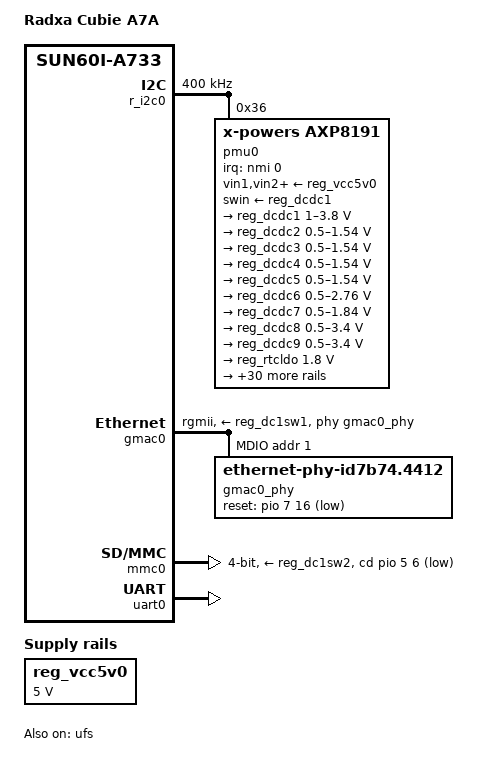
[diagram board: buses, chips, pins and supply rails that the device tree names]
// SPDX-License-Identifier: (GPL-2.0-only OR MIT)

/dts-v1/;

#include <dt-bindings/gpio/gpio.h>

#include "sun60i-a733.dtsi"

/ {
	model = "Radxa Cubie A7A";
	compatible = "radxa,cubie-a7a", "allwinner,sun60i-a733";

	reg_vcc5v0: regulator-vcc5v0 {
		compatible = "regulator-fixed";
		regulator-name = "vcc5v0";
		regulator-min-microvolt = <5000000>;
		regulator-max-microvolt = <5000000>;
		regulator-always-on;
	};

	aliases {
		serial0 = &uart0;
		ethernet0 = &gmac0;
		mmc0 = &mmc0;
	};

	chosen {
		stdout-path = "serial0:115200n8";
	};
};

&r_i2c0 {
	clock-frequency = <400000>;
	status = "okay";

	pmu0: pmic@36 {
		compatible = "x-powers,axp8191";
		reg = <0x36>;
		interrupt-parent = <&nmi>;
		interrupts = <0 IRQ_TYPE_LEVEL_LOW>;
		interrupt-controller;
		#interrupt-cells = <1>;
		vin1-supply = <&reg_vcc5v0>;
		vin2-supply = <&reg_vcc5v0>;
		vin3-supply = <&reg_vcc5v0>;
		vin4-supply = <&reg_vcc5v0>;
		vin5-supply = <&reg_vcc5v0>;
		vin6-supply = <&reg_vcc5v0>;
		vin7-supply = <&reg_vcc5v0>;
		vin8-supply = <&reg_vcc5v0>;
		vin9-supply = <&reg_vcc5v0>;
		aldoin-supply = <&reg_vcc5v0>;
		bldoin-supply = <&reg_vcc5v0>;
		cldoin-supply = <&reg_vcc5v0>;
		dldoin-supply = <&reg_vcc5v0>;
		eldoin-supply = <&reg_vcc5v0>;
		ips-supply = <&reg_vcc5v0>;
		swin-supply = <&reg_dcdc1>;
		status = "okay";

		regulators {
			reg_dcdc1: dcdc1 {
				regulator-name = "axp8191-dcdc1";
				regulator-min-microvolt = <1000000>;
				regulator-max-microvolt = <3800000>;
				regulator-ramp-delay = <250>;
				regulator-enable-ramp-delay = <1000>;
				regulator-boot-on;
				regulator-always-on;
			};
			reg_dcdc2: dcdc2 {
				regulator-name = "axp8191-dcdc2";
				regulator-min-microvolt = <500000>;
				regulator-max-microvolt = <1540000>;
				regulator-ramp-delay = <250>;
				regulator-enable-ramp-delay = <1000>;
				regulator-boot-on;
				regulator-always-on;
			};
			reg_dcdc3: dcdc3 {
				regulator-name = "axp8191-dcdc3";
				regulator-min-microvolt = <500000>;
				regulator-max-microvolt = <1540000>;
				regulator-ramp-delay = <250>;
				regulator-enable-ramp-delay = <1000>;
				regulator-boot-on;
				regulator-always-on;
			};
			reg_dcdc4: dcdc4 {
				regulator-name = "axp8191-dcdc4";
				regulator-min-microvolt = <500000>;
				regulator-max-microvolt = <1540000>;
				regulator-ramp-delay = <250>;
				regulator-enable-ramp-delay = <1000>;
				regulator-boot-on;
				regulator-always-on;
			};
			reg_dcdc5: dcdc5 {
				regulator-name = "axp8191-dcdc5";
				regulator-min-microvolt = <500000>;
				regulator-max-microvolt = <1540000>;
				regulator-ramp-delay = <250>;
				regulator-enable-ramp-delay = <1000>;
				regulator-boot-on;
				regulator-always-on;
			};
			reg_dcdc6: dcdc6 {
				regulator-name = "axp8191-dcdc6";
				regulator-min-microvolt = <500000>;
				regulator-max-microvolt = <2760000>;
				regulator-ramp-delay = <250>;
				regulator-enable-ramp-delay = <1000>;
				regulator-boot-on;
				regulator-always-on;
			};
			reg_dcdc7: dcdc7 {
				regulator-name = "axp8191-dcdc7";
				regulator-min-microvolt = <500000>;
				regulator-max-microvolt = <1840000>;
				regulator-ramp-delay = <250>;
				regulator-enable-ramp-delay = <1000>;
				regulator-boot-on;
				regulator-always-on;
			};
			reg_dcdc8: dcdc8 {
				regulator-name = "axp8191-dcdc8";
				regulator-min-microvolt = <500000>;
				regulator-max-microvolt = <3400000>;
				regulator-ramp-delay = <250>;
				regulator-enable-ramp-delay = <1000>;
				regulator-boot-on;
				regulator-always-on;
			};
			reg_dcdc9: dcdc9 {
				regulator-name = "axp8191-dcdc9";
				regulator-min-microvolt = <500000>;
				regulator-max-microvolt = <3400000>;
				regulator-ramp-delay = <250>;
				regulator-enable-ramp-delay = <1000>;
				regulator-boot-on;
				regulator-always-on;
			};
			reg_rtcldo: rtcldo {
				regulator-name = "axp8191-rtcldo";
				regulator-min-microvolt = <1800000>;
				regulator-max-microvolt = <1800000>;
				regulator-boot-on;
				regulator-always-on;
			};
			reg_aldo1: aldo1 {
				regulator-name = "axp8191-aldo1";
				regulator-min-microvolt = <500000>;
				regulator-max-microvolt = <3400000>;
				regulator-enable-ramp-delay = <1000>;
				regulator-boot-on;
				regulator-always-on;
			};
			reg_aldo2: aldo2 {
				regulator-name = "axp8191-aldo2";
				regulator-min-microvolt = <500000>;
				regulator-max-microvolt = <3400000>;
				regulator-enable-ramp-delay = <1000>;
			};
			reg_aldo3: aldo3 {
				regulator-name = "axp8191-aldo3";
				regulator-min-microvolt = <500000>;
				regulator-max-microvolt = <3400000>;
				regulator-enable-ramp-delay = <1000>;
			};
			reg_aldo4: aldo4 {
				regulator-name = "axp8191-aldo4";
				regulator-min-microvolt = <500000>;
				regulator-max-microvolt = <3400000>;
				regulator-enable-ramp-delay = <1000>;
			};
			reg_aldo5: aldo5 {
				regulator-name = "axp8191-aldo5";
				regulator-min-microvolt = <500000>;
				regulator-max-microvolt = <3400000>;
				regulator-enable-ramp-delay = <1000>;
			};
			reg_aldo6: aldo6 {
				regulator-name = "axp8191-aldo6";
				regulator-min-microvolt = <500000>;
				regulator-max-microvolt = <3400000>;
				regulator-enable-ramp-delay = <1000>;
			};
			reg_bldo1: bldo1 {
				regulator-name = "axp8191-bldo1";
				regulator-min-microvolt = <500000>;
				regulator-max-microvolt = <3400000>;
				regulator-enable-ramp-delay = <1000>;
			};
			reg_bldo2: bldo2 {
				regulator-name = "axp8191-bldo2";
				regulator-min-microvolt = <500000>;
				regulator-max-microvolt = <3400000>;
				regulator-enable-ramp-delay = <1000>;
			};
			reg_bldo3: bldo3 {
				regulator-name = "axp8191-bldo3";
				regulator-min-microvolt = <500000>;
				regulator-max-microvolt = <3400000>;
				regulator-enable-ramp-delay = <1000>;
			};
			reg_bldo4: bldo4 {
				regulator-name = "axp8191-bldo4";
				regulator-min-microvolt = <500000>;
				regulator-max-microvolt = <3400000>;
				regulator-enable-ramp-delay = <1000>;
			};
			reg_bldo5: bldo5 {
				regulator-name = "axp8191-bldo5";
				regulator-min-microvolt = <500000>;
				regulator-max-microvolt = <3400000>;
				regulator-enable-ramp-delay = <1000>;
			};
			reg_cldo1: cldo1 {
				regulator-name = "axp8191-cldo1";
				regulator-min-microvolt = <500000>;
				regulator-max-microvolt = <3500000>;
				regulator-enable-ramp-delay = <1000>;
				regulator-boot-on;
				regulator-always-on;
			};
			reg_cldo2: cldo2 {
				regulator-name = "axp8191-cldo2";
				regulator-min-microvolt = <500000>;
				regulator-max-microvolt = <3500000>;
				regulator-enable-ramp-delay = <1000>;
			};
			reg_cldo3: cldo3 {
				regulator-name = "axp8191-cldo3";
				regulator-min-microvolt = <500000>;
				regulator-max-microvolt = <3500000>;
				regulator-enable-ramp-delay = <1000>;
				regulator-boot-on;
				regulator-always-on;
			};
			reg_cldo4: cldo4 {
				regulator-name = "axp8191-cldo4";
				regulator-min-microvolt = <500000>;
				regulator-max-microvolt = <3500000>;
				regulator-enable-ramp-delay = <1000>;
			};
			reg_cldo5: cldo5 {
				regulator-name = "axp8191-cldo5";
				regulator-min-microvolt = <500000>;
				regulator-max-microvolt = <3400000>;
				regulator-enable-ramp-delay = <1000>;
				regulator-boot-on;
				regulator-always-on;
			};
			reg_dldo1: dldo1 {
				regulator-name = "axp8191-dldo1";
				regulator-min-microvolt = <500000>;
				regulator-max-microvolt = <3400000>;
				regulator-enable-ramp-delay = <1000>;
				regulator-boot-on;
				regulator-always-on;
			};
			reg_dldo2: dldo2 {
				regulator-name = "axp8191-dldo2";
				regulator-min-microvolt = <500000>;
				regulator-max-microvolt = <3400000>;
				regulator-enable-ramp-delay = <1000>;
			};
			reg_dldo3: dldo3 {
				regulator-name = "axp8191-dldo3";
				regulator-min-microvolt = <500000>;
				regulator-max-microvolt = <3400000>;
				regulator-enable-ramp-delay = <1000>;
			};
			reg_dldo4: dldo4 {
				regulator-name = "axp8191-dldo4";
				regulator-min-microvolt = <500000>;
				regulator-max-microvolt = <3400000>;
				regulator-enable-ramp-delay = <1000>;
			};
			reg_dldo5: dldo5 {
				regulator-name = "axp8191-dldo5";
				regulator-min-microvolt = <500000>;
				regulator-max-microvolt = <3400000>;
				regulator-enable-ramp-delay = <1000>;
			};
			reg_dldo6: dldo6 {
				regulator-name = "axp8191-dldo6";
				regulator-min-microvolt = <500000>;
				regulator-max-microvolt = <3400000>;
				regulator-enable-ramp-delay = <1000>;
				regulator-boot-on;
				regulator-always-on;
			};
			reg_eldo1: eldo1 {
				regulator-name = "axp8191-eldo1";
				regulator-min-microvolt = <500000>;
				regulator-max-microvolt = <3400000>;
				regulator-enable-ramp-delay = <1000>;
				regulator-boot-on;
				regulator-always-on;
			};
			reg_eldo2: eldo2 {
				regulator-name = "axp8191-eldo2";
				regulator-min-microvolt = <500000>;
				regulator-max-microvolt = <3400000>;
				regulator-enable-ramp-delay = <1000>;
				regulator-boot-on;
				regulator-always-on;
			};
			reg_eldo3: eldo3 {
				regulator-name = "axp8191-eldo3";
				regulator-min-microvolt = <500000>;
				regulator-max-microvolt = <3400000>;
				regulator-enable-ramp-delay = <1000>;
			};
			reg_eldo4: eldo4 {
				regulator-name = "axp8191-eldo4";
				regulator-min-microvolt = <500000>;
				regulator-max-microvolt = <3400000>;
				regulator-enable-ramp-delay = <1000>;
			};
			reg_eldo5: eldo5 {
				regulator-name = "axp8191-eldo5";
				regulator-min-microvolt = <500000>;
				regulator-max-microvolt = <3400000>;
				regulator-enable-ramp-delay = <1000>;
			};
			reg_eldo6: eldo6 {
				regulator-name = "axp8191-eldo6";
				regulator-min-microvolt = <500000>;
				regulator-max-microvolt = <3400000>;
				regulator-enable-ramp-delay = <1000>;
				regulator-boot-on;
				regulator-always-on;
			};
			reg_dc1sw1: dc1sw1 {
				regulator-name = "axp8191-dc1sw1";
			};
			reg_dc1sw2: dc1sw2 {
				regulator-name = "axp8191-dc1sw2";
				regulator-always-on;
			};
		};
	};
};

&soc {
	gmac0: ethernet@4500000 {
		compatible = "allwinner,sun60i-a733-gmac210", "snps,dwmac-5.20";
		reg = <0x04500000 0x8000>, <0x04508000 0x1000>;
		interrupts = <GIC_SPI 172 IRQ_TYPE_LEVEL_HIGH>,
			     <GIC_SPI 178 IRQ_TYPE_LEVEL_HIGH>,
			     <GIC_SPI 173 IRQ_TYPE_LEVEL_HIGH>,
			     <GIC_SPI 174 IRQ_TYPE_LEVEL_HIGH>;
		interrupt-names = "macirq", "eth_lpi", "tx-queue-0", "rx-queue-0";
		clocks = <&ccu CLK_BUS_GMAC0>, <&ccu CLK_MBUS_GMAC0>,
			 <&ccu CLK_GMAC_PTP>;
		clock-names = "stmmaceth", "mbus", "ptp_ref";
		resets = <&ccu RST_BUS_GMAC0_AXI>, <&ccu RST_BUS_GMAC0>;
		reset-names = "stmmaceth", "ahb";
		phy-handle = <&gmac0_phy>;
		/* RGMII clock delays are provided by the MAC delay chains below. */
		phy-mode = "rgmii";
		phy-supply = <&reg_dc1sw1>;
		tx-internal-delay-ps = <1200>;
		rx-internal-delay-ps = <1000>;
		status = "okay";

		mdio0: mdio {
			compatible = "snps,dwmac-mdio";
			#address-cells = <1>;
			#size-cells = <0>;

			gmac0_phy: ethernet-phy@1 {
				compatible = "ethernet-phy-id7b74.4412";
				reg = <1>;
				max-speed = <1000>;
				reset-gpios = <&pio 7 16 GPIO_ACTIVE_LOW>;
				reset-assert-us = <10000>;
				reset-deassert-us = <150000>;
				eee-broken-100tx;
				eee-broken-1000t;
			};
		};
	};
};

&mmc0 {
	bus-width = <4>;
	cd-gpios = <&pio 5 6 (GPIO_ACTIVE_LOW | GPIO_PULL_UP)>;
	cap-sd-highspeed;
	sd-uhs-sdr50;
	sd-uhs-ddr50;
	sd-uhs-sdr104;
	no-mmc;
	no-sdio;
	max-frequency = <200000000>;
	vmmc-supply = <&reg_dc1sw2>;
	vqmmc-supply = <&reg_cldo5>;
	status = "okay";
};

&ufs {
	nvmem-cells = <&ufs_calibration_low>, <&ufs_calibration_high>;
	nvmem-cell-names = "calibration-low", "calibration-high";
	vcc-supply = <&reg_dldo6>;
	vccq-supply = <&reg_dcdc8>;
	vccq2-supply = <&reg_dcdc8>;
	status = "okay";
};

&uart0 {
	pinctrl-names = "default";
	pinctrl-0 = <&uart0_pb9_pb10_pins>;
	status = "okay";
};
